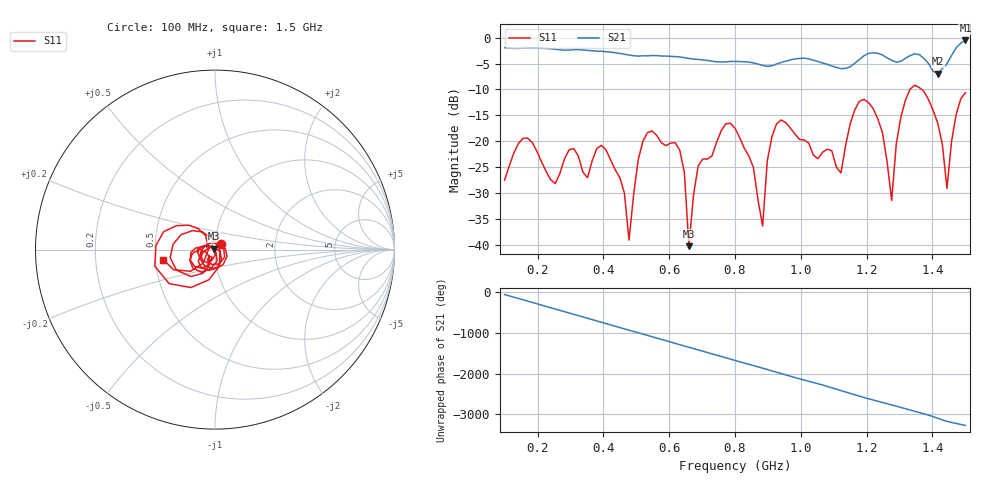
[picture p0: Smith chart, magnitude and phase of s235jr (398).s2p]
! NanoVNA-App
! Date: 2025-09-25 15:07:15
! Start: 100MHz Stop: 1,5GHz Points: 101
! S-Parameter data: F S11 S21 S12 S22
# Hz S RI R 50
!  Frequency  S11_Real  S11_Imag  S21_Real  S21_Imag  S12_Real  S12_Imag  S22_Real  S22_Imag
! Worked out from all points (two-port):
!   101 points, 100 MHz to 1.5 GHz, reference 50 ohm
!   highest |S21| = -0.56 dB at 1.5 GHz (marker M1); lowest = -6.9 dB at 1.416 GHz (marker M2)
!   |S21| within 3 dB of the highest: start of sweep to 502.6 MHz; 509.8 MHz to 579.4 MHz (69.6 MHz wide, 12.8 % of centre) (the widest 2 of 5)
!   lowest |S11| = -40.2 dB at 660 MHz (marker M3), VSWR 1.02, Z = 49.2 + j0.564 ohm
!   |S11| at or under -10 dB: start of sweep to 1.332 GHz; 1.367 GHz to end of sweep
!   S12 and S22 are empty: the file has one direction only
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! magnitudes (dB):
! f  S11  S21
! 100 MHz  -27.5  -2.0
! 156 MHz  -19.4  -2.0
! 338 MHz  -26.0  -2.4
! 408 MHz  -21.6  -2.7
! 478 MHz  -39.0  -3.4
! 520 MHz  -20.0  -3.5
! 576 MHz  -20.3  -3.6
! 632 MHz  -21.7  -3.7
! 660 MHz  -40.2  -4.0
! 688 MHz  -24.8  -4.2
! 800 MHz  -17.5  -4.6
! 884 MHz  -36.3  -5.4
! 926 MHz  -16.7  -5.1
! 1.038 GHz  -22.6  -4.4
! 1.122 GHz  -26.1  -6.0
! 1.192 GHz  -11.9  -3.5
! 1.248 GHz  -18.3  -3.4
! 1.276 GHz  -31.4  -4.4
! 1.332 GHz  -9.9  -3.5
! 1.416 GHz  -16.5  -6.9
! 1.444 GHz  -29.1  -5.0
! 1.5 GHz  -10.6  -0.6
